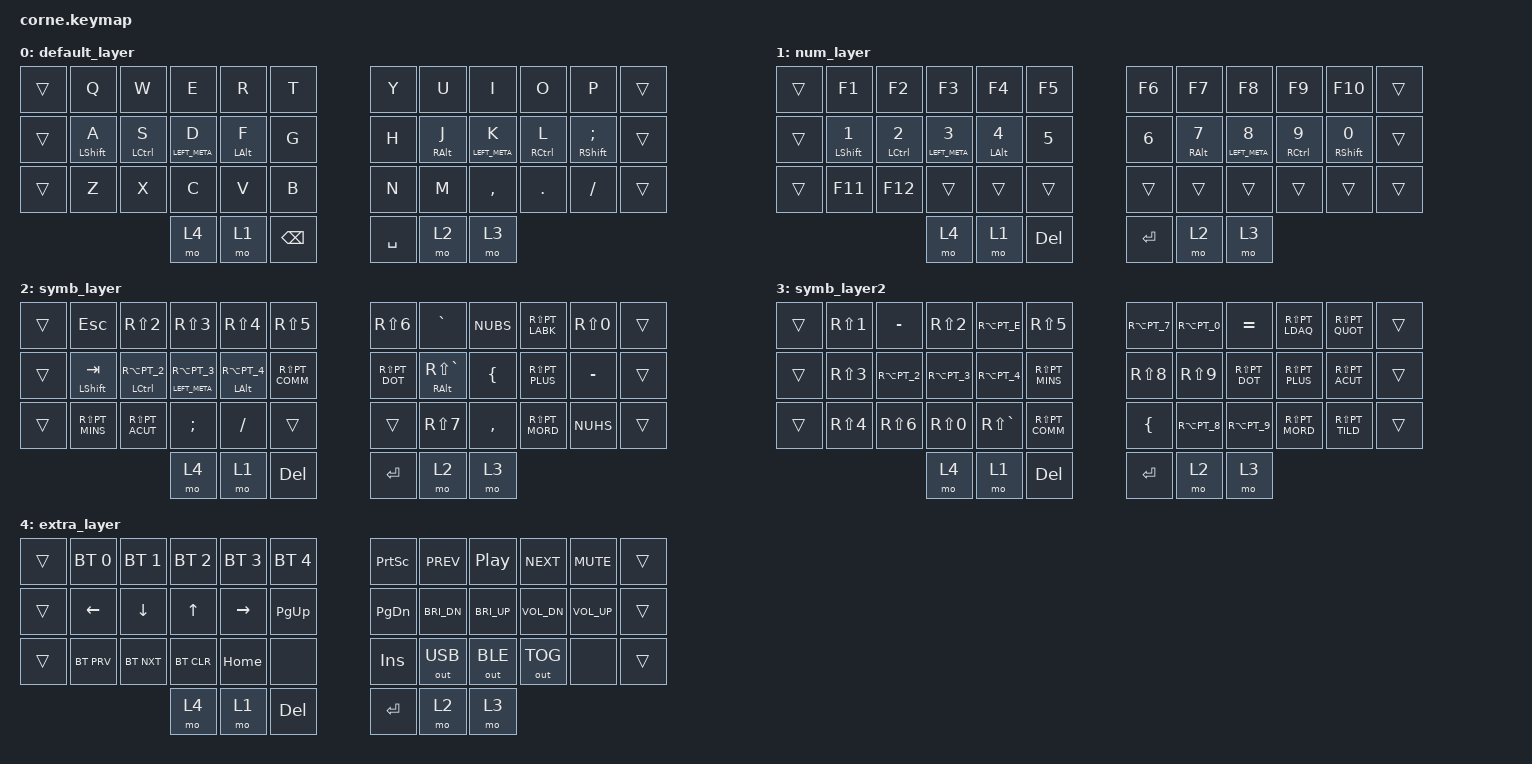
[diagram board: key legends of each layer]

#include <behaviors.dtsi>
#include <dt-bindings/zmk/keys.h>
#include <dt-bindings/zmk/hid_usage.h>
#include <dt-bindings/zmk/hid_usage_pages.h>
#include <dt-bindings/zmk/modifiers.h>
#include <dt-bindings/zmk/bt.h>
#include <dt-bindings/zmk/outputs.h>

&mt { tapping_term_ms = <400>; };

#define PT_BSLS GRAVE          // (backslash)
#define PT_1 N1                // 1
#define PT_2 N2                // 2
#define PT_3 N3                // 3
#define PT_4 N4                // 4
#define PT_5 N5                // 5
#define PT_6 N6                // 6
#define PT_7 N7                // 7
#define PT_8 N8                // 8
#define PT_9 N9                // 9
#define PT_0 N0                // 0
#define PT_QUOT MINUS          // '
#define PT_LDAQ EQUAL          // «
#define PT_Q Q
#define PT_W W
#define PT_E E
#define PT_R R
#define PT_T T
#define PT_Y Y
#define PT_U U
#define PT_I I
#define PT_O O
#define PT_P P
#define PT_PLUS LBRC           // +
#define PT_ACUT RBRC           // ´ (dead)
#define PT_A A
#define PT_S S
#define PT_D D
#define PT_F F
#define PT_G G
#define PT_H H
#define PT_J J
#define PT_K K
#define PT_L L
#define PT_CCED SEMI           // Ç
#define PT_MORD SQT            // º
#define PT_TILD NUHS           // ~ (dead)
#define PT_LABK NUBS           // <
#define PT_Z Z
#define PT_X X
#define PT_C C
#define PT_V V
#define PT_B B
#define PT_N N
#define PT_M M
#define PT_COMM COMMA          // ,
#define PT_DOT DOT             // .
#define PT_MINS SLASH          // -

#define PT_PIPE RS(GRAVE)      // |
#define PT_EXLM RS(N1)         // !
#define PT_DQUO RS(N2)         // "
#define PT_HASH RS(N3)         // #
#define PT_DLR RS(N4)          // $
#define PT_PERC RS(N5)         // %
#define PT_AMPR RS(N6)         // &
#define PT_SLSH RS(N7)         // /
#define PT_LPRN RS(N8)         // (
#define PT_RPRN RS(N9)         // )
#define PT_EQL RS(N0)          // =
#define PT_QUES RS(PT_QUOT)    // ?
#define PT_RDAQ RS(PT_LDAQ)    // »
#define PT_ASTR RS(PT_PLUS)    // *
#define PT_GRV RS(PT_ACUT)     // ` (dead)
#define PT_FORD RS(PT_MORD)    // ª
#define PT_CIRC RS(PT_TILD)    // ^ (dead)
#define PT_RABK RS(PT_LABK)    // >
#define PT_SCLN RS(PT_COMM)    // ;
#define PT_COLN RS(PT_DOT)     // :
#define PT_UNDS RS(PT_MINS)    // _
#define PT_AT RA(PT_2)        // @
#define PT_PND RA(PT_3)       // £
#define PT_SECT RA(PT_4)      // §
#define PT_LCBR RA(PT_7)      // {
#define PT_LBRC RA(PT_8)      // [
#define PT_RBRC RA(PT_9)      // ]
#define PT_RCBR RA(PT_0)      // }
#define PT_DIAE RA(PT_PLUS)   // ¨ (dead)
#define PT_EURO RA(PT_E)      // €


//***************** default_layer
// |  Q  |  W  |  E  |  R  |  T  |             |  Y  |  U  |  I  |  O  |  P  |
// |  A  |  S  |  D  |  F  |  G  |             |  H  |  J  |  K  |  L  |  Ç  |
// |  Z  |  X  |  C  |  V  |  B  |             |  N  |  M  |  ,  |  .  |  -  |
//             |  4  |  1  |BCSPC|             |SPACE|  2  |  3  |


//***************** num_layer
// |  F1 | F2  | F3  | F4  | F5  |             | F6  | F7  | F8  | F9  | F10 |
// |  1  |  2  |  3  |  4  |  5  |             |  6  |  7  |  8  |  9  |  0  |
// | F11 | F12 |     |     |     |             |     |     |     |     |     |
//             |  4  |  1  | DEL |             | ENT |  2  |  3  |


//***************** symb_layer
// | ESC |  "  |  #  |  $  |  %  |             |  &  |  \  |  <  |  >  |  =  |
// | TAB |  @  |  £  |  §  |  ;  |             |  :  |  |  |  +  |  *  |  '  |
// |  _  |  `  |  Ç  |  -  |     |             |     |  /  |  ,  |  ª  |  ~  |
//             |  4  |  1  | DEL |             | ENT |  2  |  3  |


//***************** symb_layer2
// |  !  |  '  |  "  |  €  |  %  |             |  {  |  }  |  «  |  »  |  ?  |
// |  #  |  @  |  £  |  §  |  _  |             |  (  |  )  |  :  |  *  |  `  |
// |  $  |  &  |  =  |  |  |  ;  |             |  +  |  [  |  ]  |  ª  |  ^  |
//             |  4  |  1  | DEL |             | ENT |  2  |  3  |


//***************** extra_layer
// | BT1 | BT2 | BT3 | BT4 | BT5 |             | PRT | PREV| PLAY| NEXT| MUTE|
// | LEFT| DOWN|  UP |RIGHT|PGUP |             |PGDN | BRI-| BRI+| VOL-| VOL+|
// |BTPRV|BTNEXT|BTCLR|HOME|     |             | INS | USB | BLE | TOG |     |
//             |  4  |  1  | DEL |             | ENT |  2  |  3  |


//*****************************************************************
// KEYMAP
//*****************************************************************

/ {
    keymap {
        compatible = "zmk,keymap";

        default_layer {
            bindings = <
                &trans  &kp Q  &kp W  &kp E  &kp R  &kp T  &kp Y  &kp U  &kp I  &kp O  &kp P  &trans

                &trans  &mt LEFT_SHIFT A  &mt LEFT_CONTROL S  &mt LEFT_META D  &mt LEFT_ALT F  &kp G  &kp H  &mt RIGHT_ALT J  &mt LEFT_META K  &mt RIGHT_CONTROL L  &mt RIGHT_SHIFT PT_CCED  &trans

                &trans  &kp Z  &kp X  &kp C  &kp V  &kp B  &kp N  &kp M  &kp PT_COMM  &kp PT_DOT  &kp PT_MINS  &trans

                &mo 4  &mo 1  &kp BACKSPACE  &kp SPACE  &mo 2  &mo 3
            >;
        };


        num_layer {
            bindings = <
                &trans  &kp F1  &kp F2  &kp F3  &kp F4  &kp F5  &kp F6  &kp F7  &kp F8  &kp F9  &kp F10  &trans

                &trans  &mt LEFT_SHIFT PT_1  &mt LEFT_CONTROL PT_2  &mt LEFT_META PT_3  &mt LEFT_ALT PT_4  &kp PT_5  &kp PT_6  &mt RIGHT_ALT PT_7  &mt LEFT_META PT_8  &mt RIGHT_CONTROL PT_9  &mt RIGHT_SHIFT PT_0  &trans

                &trans  &kp F11  &kp F12  &trans  &trans  &trans  &trans  &trans  &trans  &trans  &trans  &trans

                &mo 4  &mo 1  &kp DEL  &kp ENTER  &mo 2  &mo 3
            >;
        };


        symb_layer {
            bindings = <
                &trans  &kp ESCAPE  &kp PT_DQUO  &kp PT_HASH  &kp PT_DLR  &kp PT_PERC  &kp PT_AMPR  &kp PT_BSLS  &kp PT_LABK  &kp PT_RABK  &kp PT_EQL  &trans

                &trans  &mt LEFT_SHIFT TAB  &mt LEFT_CONTROL PT_AT  &mt LEFT_META PT_PND  &mt LEFT_ALT PT_SECT  &kp PT_SCLN  &kp PT_COLN  &mt RIGHT_ALT PT_PIPE  &kp PT_PLUS  &kp PT_ASTR  &kp PT_QUOT  &trans

                &trans  &kp PT_UNDS  &kp PT_GRV  &kp PT_CCED  &kp PT_MINS  &trans  &trans  &kp PT_SLSH  &kp PT_COMM  &kp PT_FORD  &kp PT_TILD  &trans

                &mo 4  &mo 1  &kp DEL  &kp ENTER  &mo 2  &mo 3
            >;
        };


        symb_layer2 {
            bindings = <
                &trans  &kp PT_EXLM  &kp PT_QUOT  &kp PT_DQUO  &kp PT_EURO  &kp PT_PERC  &kp PT_LCBR  &kp PT_RCBR  &kp PT_LDAQ  &kp PT_RDAQ  &kp PT_QUES  &trans

                &trans  &kp PT_HASH  &kp PT_AT  &kp PT_PND  &kp PT_SECT  &kp PT_UNDS  &kp PT_LPRN  &kp PT_RPRN  &kp PT_COLN  &kp PT_ASTR  &kp PT_GRV  &trans

                &trans  &kp PT_DLR  &kp PT_AMPR  &kp PT_EQL  &kp PT_PIPE  &kp PT_SCLN  &kp PT_PLUS  &kp PT_LBRC  &kp PT_RBRC  &kp PT_FORD  &kp PT_CIRC  &trans

                &mo 4  &mo 1  &kp DEL  &kp ENTER  &mo 2  &mo 3
            >;
        };


        extra_layer {
            bindings = <
                &trans  &bt BT_SEL 0  &bt BT_SEL 1  &bt BT_SEL 2  &bt BT_SEL 3  &bt BT_SEL 4  &kp PRINTSCREEN  &kp C_PREV  &kp C_PLAY_PAUSE  &kp C_NEXT  &kp C_MUTE  &trans

                &trans  &kp LEFT  &kp DOWN  &kp UP  &kp RIGHT  &kp PAGE_UP  &kp PAGE_DOWN  &kp C_BRI_DN  &kp C_BRI_UP  &kp C_VOL_DN  &kp C_VOL_UP  &trans

                &trans  &bt BT_PRV  &bt BT_NXT  &bt BT_CLR  &kp HOME  &none  &kp INS  &out OUT_USB  &out OUT_BLE  &out OUT_TOG  &none  &trans

                &mo 4  &mo 1  &kp DEL  &kp ENTER  &mo 2  &mo 3
            >;
        };
    };
};
